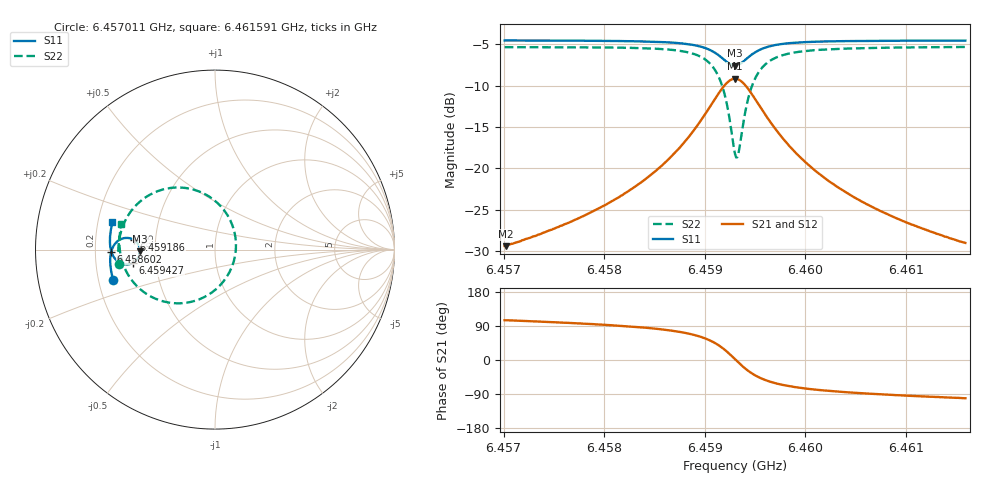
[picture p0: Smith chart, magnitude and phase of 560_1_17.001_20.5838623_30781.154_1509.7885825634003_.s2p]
#  HZ  S  RI  R  50.00
! Rohde & Schwarz Vector Network Analyzer
! Rohde-Schwarz,ZNB20-2Port,1311601062101988,3.16
! Created: UTC 3/20/2024, 11:17:10 PM
! freq[Hz]  re:S11  im:S11  re:S21  im:S21  re:S12  im:S12  re:S22  im:S22
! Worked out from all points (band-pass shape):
!   401 points, 6.457011 GHz to 6.461591 GHz, reference 50 ohm
!   highest |S21| = -9.17 dB at 6.459301 GHz (marker M1); lowest = -29.4 dB at 6.457022 GHz (marker M2)
!   |S21| within 3 dB of the highest: 6.459072 GHz to 6.45953 GHz (457.2 kHz wide, 0.00708 % of centre)
!   lowest |S11| = -7.6 dB at 6.459301 GHz (marker M3), VSWR 2.43, Z = 20.6 - j0.441 ohm
!   |S11| at or under -10 dB: nowhere
!   |S22| runs from -18.7 to -5.3 dB; largest |S21 - S12| = 0.014
!   S11 on the Smith chart (normalised r, x): 6.457011 GHz: 0.26, -0.14; 6.458602 GHz: 0.27, -0.01; 6.459186 GHz: 0.37, +0.05; 6.459427 GHz: 0.37, -0.07; 6.461591 GHz: 0.26, +0.12
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6.4570109e9  -0.5673 -0.1696  -0.0087 0.0328  -0.00706 0.0326  -0.5334 -0.0817
6.4570223e9  -0.5677 -0.1687  -0.00867 0.0327  -0.00701 0.0328  -0.5336 -0.0805
6.457778e9  -0.5811 -0.1024  -0.0054 0.0507  -0.00287 0.0501  -0.5384 0.00838
6.4581673e9  -0.5838 -0.0636  -9.94e-05 0.0682  0.00319 0.0668  -0.5311 0.0697
6.4585451e9  -0.5798 -0.0187  0.0145 0.0991  0.0186 0.0964  -0.5041 0.1538
6.4586024e9  -0.578 -0.0107  0.0191 0.1062  0.0231 0.103  -0.4956 0.1704
6.4588085e9  -0.5649 0.0212  0.0468 0.1385  0.051 0.1336  -0.4435 0.2433
6.4589573e9  -0.542 0.0475  0.0923 0.1693  0.0955 0.1624  -0.3592 0.3076
6.4590947e9  -0.498 0.065  0.18 0.1856  0.181 0.1782  -0.1987 0.3459
6.4591863e9  -0.4531 0.0546  0.2704 0.154  0.2707 0.148  -0.0312 0.2949
6.459255e9  -0.4241 0.0223  0.3312 0.0815  0.3333 0.0762  0.0847 0.1638
6.4593008e9  -0.4172 -0.00886  0.3476 0.0129  0.3511 0.00616  0.1168 0.036
6.4593351e9  -0.4212 -0.0327  0.3416 -0.0397  0.3455 -0.0489  0.1049 -0.0645
6.4593809e9  -0.437 -0.059  0.3125 -0.0999  0.3148 -0.1121  0.0463 -0.1784
6.4594267e9  -0.4592 -0.0753  0.2701 -0.1411  0.2693 -0.1545  -0.0399 -0.2535
6.4595183e9  -0.5027 -0.0823  0.1845 -0.1722  0.1783 -0.1839  -0.2104 -0.2993
6.4596672e9  -0.5469 -0.0615  0.0963 -0.1578  0.0876 -0.1642  -0.3789 -0.2486
6.4598275e9  -0.5684 -0.0337  0.0512 -0.1297  0.0434 -0.1325  -0.4596 -0.1757
6.4600679e9  -0.581 0.00188  0.022 -0.0977  0.0161 -0.0984  -0.5075 -0.0927
6.4603885e9  -0.5854 0.0403  0.00678 -0.0721  0.00256 -0.0718  -0.5282 -0.0175
6.460835e9  -0.5835 0.0855  -0.00167 -0.0521  -0.00443 -0.0512  -0.5328 0.0551
6.4615907e9  -0.5712 0.1524  -0.00672 -0.0348  -0.00845 -0.0338  -0.5213 0.1448
